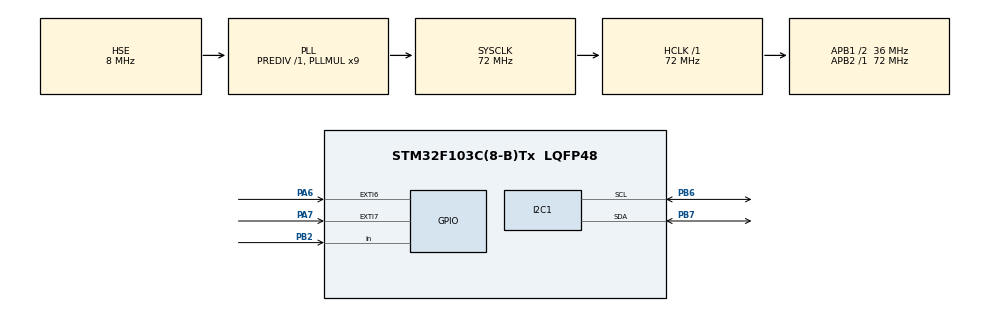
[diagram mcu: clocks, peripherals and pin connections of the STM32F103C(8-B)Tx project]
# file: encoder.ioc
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Mcu.Family=STM32F1
Mcu.Name=STM32F103C(8-B)Tx
Mcu.Package=LQFP48
NVIC.EXTI9_5_IRQn=true\:0\:0\:false\:false\:true\:true\:true\:true
NVIC.PriorityGroup=NVIC_PRIORITYGROUP_4
PA6.GPIO_ModeDefaultEXTI=GPIO_MODE_IT_FALLING
PA6.GPIO_PuPd=GPIO_PULLUP
PA6.Signal=GPXTI6
PA7.GPIO_PuPd=GPIO_PULLUP
PA7.Signal=GPXTI7
PB2.GPIO_PuPd=GPIO_PULLUP
PB2.Signal=GPIO_Input
PB6.Mode=I2C
PB6.Signal=I2C1_SCL
PB7.Mode=I2C
PB7.Signal=I2C1_SDA
PD0-OSC_IN.Mode=HSE-External-Oscillator
PD0-OSC_IN.Signal=RCC_OSC_IN
PD1-OSC_OUT.Mode=HSE-External-Oscillator
PD1-OSC_OUT.Signal=RCC_OSC_OUT
ProjectManager.HeapSize=0x200
ProjectManager.StackSize=0x400
ProjectManager.TargetToolchain=MDK-ARM V5.32
RCC.AHBFreq_Value=72000000
RCC.APB1CLKDivider=RCC_HCLK_DIV2
RCC.APB1Freq_Value=36000000
RCC.APB1TimFreq_Value=72000000
RCC.APB2Freq_Value=72000000
RCC.APB2TimFreq_Value=72000000
RCC.HCLKFreq_Value=72000000
RCC.PLLMUL=RCC_PLL_MUL9
RCC.PLLSourceVirtual=RCC_PLLSOURCE_HSE
RCC.SYSCLKFreq_VALUE=72000000
RCC.SYSCLKSource=RCC_SYSCLKSOURCE_PLLCLK
RCC.USBFreq_Value=72000000
VP_SYS_VS_ND.Mode=No_Debug
board=custom

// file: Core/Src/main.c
/* USER CODE BEGIN Header */
/**
  ******************************************************************************
  * @file           : main.c
  * @brief          : Main program body
  ******************************************************************************
  * @attention
  *
  * Copyright (c) 2023 STMicroelectronics.
  * All rights reserved.
  *
  * This software is licensed under terms that can be found in the LICENSE file
  * in the root directory of this software component.
  * If no LICENSE file comes with this software, it is provided AS-IS.
  *
  ******************************************************************************
  */
/* USER CODE END Header */
#include "main.h"
#include "i2c.h"
#include "gpio.h"

/* USER CODE BEGIN Includes */
#include "encoder.h"
#include "stdio.h"
#include "oled.h"
/* USER CODE END Includes */

/* USER CODE BEGIN PM */
uint8_t count=99;
/* USER CODE END PM */

/* USER CODE BEGIN PV */
void delay_us(uint32_t uS){
	SysTick->LOAD=72*uS;
	SysTick->VAL=0x00;
	SysTick->CTRL=0x00000005;
	while(!(SysTick->CTRL&0x00010000));
	SysTick->CTRL=0x00000004;
}

void delay_ms(uint8_t n)
{
	uint8_t i=0,j=0;
    for(i=0;i<n;i++)
        for(j=0;j<123;j++);
}
/* USER CODE END PV */

void SystemClock_Config(void);

int main(void)
{

  /* MCU Configuration--------------------------------------------------------*/

  /* Reset of all peripherals, Initializes the Flash interface and the Systick. */
  HAL_Init();

  /* Configure the system clock */
  SystemClock_Config();

  /* Initialize all configured peripherals */
  MX_GPIO_Init();
  MX_I2C1_Init();
  /* USER CODE BEGIN 2 */
	OLED_Init();
	OLED_Display_Buffer_8x16(0,0,"it is ok!");
	HAL_Delay(100);
	OLED_Display_Clear();
  /* USER CODE END 2 */

  /* Infinite loop */
  while (1)
  {

  }
}

void SystemClock_Config(void)
{
  RCC_OscInitTypeDef RCC_OscInitStruct = {0};
  RCC_ClkInitTypeDef RCC_ClkInitStruct = {0};

  /** Initializes the RCC Oscillators according to the specified parameters
  * in the RCC_OscInitTypeDef structure.
  */
  RCC_OscInitStruct.OscillatorType = RCC_OSCILLATORTYPE_HSE;
  RCC_OscInitStruct.HSEState = RCC_HSE_ON;
  RCC_OscInitStruct.HSEPredivValue = RCC_HSE_PREDIV_DIV1;
  RCC_OscInitStruct.HSIState = RCC_HSI_ON;
  RCC_OscInitStruct.PLL.PLLState = RCC_PLL_ON;
  RCC_OscInitStruct.PLL.PLLSource = RCC_PLLSOURCE_HSE;
  RCC_OscInitStruct.PLL.PLLMUL = RCC_PLL_MUL9;
  if (HAL_RCC_OscConfig(&RCC_OscInitStruct) != HAL_OK)
  {
    Error_Handler();
  }

  /** Initializes the CPU, AHB and APB buses clocks
  */
  RCC_ClkInitStruct.ClockType = RCC_CLOCKTYPE_HCLK|RCC_CLOCKTYPE_SYSCLK
                              |RCC_CLOCKTYPE_PCLK1|RCC_CLOCKTYPE_PCLK2;
  RCC_ClkInitStruct.SYSCLKSource = RCC_SYSCLKSOURCE_PLLCLK;
  RCC_ClkInitStruct.AHBCLKDivider = RCC_SYSCLK_DIV1;
  RCC_ClkInitStruct.APB1CLKDivider = RCC_HCLK_DIV2;
  RCC_ClkInitStruct.APB2CLKDivider = RCC_HCLK_DIV1;

  if (HAL_RCC_ClockConfig(&RCC_ClkInitStruct, FLASH_LATENCY_2) != HAL_OK)
  {
    Error_Handler();
  }
}

void Error_Handler(void)
{
  __disable_irq();
  while (1)
  {
  }
}
